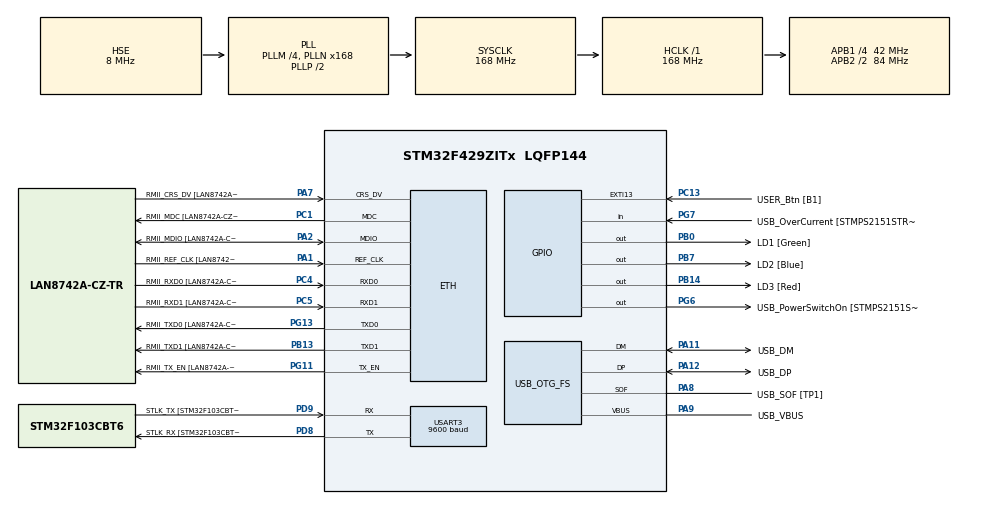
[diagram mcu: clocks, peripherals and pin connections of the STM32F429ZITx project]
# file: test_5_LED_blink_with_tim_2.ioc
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ETH.MediaInterface=HAL_ETH_RMII_MODE
ETH.PHY_Name=LAN8742A_PHY_ADDRESS
ETH.PHY_Value=0
ETH.PhyAddress=0
Mcu.Family=STM32F4
Mcu.Name=STM32F429ZITx
Mcu.Package=LQFP144
NVIC.EXTI15_10_IRQn=true\:0\:0\:false\:false\:true\:true\:true\:true
NVIC.PriorityGroup=NVIC_PRIORITYGROUP_4
NVIC.TIM1_UP_TIM10_IRQn=true\:0\:0\:false\:false\:true\:true\:true\:true
PA1.GPIO_Label=RMII_REF_CLK [LAN8742A-CZ-TR_REFCLK0]
PA1.Mode=RMII
PA1.Signal=ETH_REF_CLK
PA10.GPIO_Label=USB_ID
PA10.Signal=USB_OTG_FS_ID
PA11.GPIO_Label=USB_DM
PA11.Mode=Device_Only
PA11.Signal=USB_OTG_FS_DM
PA12.GPIO_Label=USB_DP
PA12.Mode=Device_Only
PA12.Signal=USB_OTG_FS_DP
PA13.GPIO_Label=TMS
PA13.Mode=Serial_Wire
PA13.Signal=SYS_JTMS-SWDIO
PA14.GPIO_Label=TCK
PA14.Mode=Serial_Wire
PA14.Signal=SYS_JTCK-SWCLK
PA2.GPIO_Label=RMII_MDIO [LAN8742A-CZ-TR_MDIO]
PA2.Mode=RMII
PA2.Signal=ETH_MDIO
PA7.GPIO_Label=RMII_CRS_DV [LAN8742A-CZ-TR_CRS_DV]
PA7.Mode=RMII
PA7.Signal=ETH_CRS_DV
PA8.GPIO_Label=USB_SOF [TP1]
PA8.Mode=Activate_SOF_FS
PA8.Signal=USB_OTG_FS_SOF
PA9.GPIO_Label=USB_VBUS
PA9.Mode=Activate_VBUS
PA9.Signal=USB_OTG_FS_VBUS
PB0.GPIO_Label=LD1 [Green]
PB0.Signal=GPIO_Output
PB13.GPIO_Label=RMII_TXD1 [LAN8742A-CZ-TR_TXD1]
PB13.Mode=RMII
PB13.Signal=ETH_TXD1
PB14.GPIO_Label=LD3 [Red]
PB14.Signal=GPIO_Output
PB7.GPIO_Label=LD2 [Blue]
PB7.Signal=GPIO_Output
PC1.GPIO_Label=RMII_MDC [LAN8742A-CZ-TR_MDC]
PC1.Mode=RMII
PC1.Signal=ETH_MDC
PC13.GPIO_Label=USER_Btn [B1]
PC13.Signal=GPXTI13
PC14/OSC32_IN.Mode=LSE-External-Oscillator
PC14/OSC32_IN.Signal=RCC_OSC32_IN
PC15/OSC32_OUT.Mode=LSE-External-Oscillator
PC15/OSC32_OUT.Signal=RCC_OSC32_OUT
PC4.GPIO_Label=RMII_RXD0 [LAN8742A-CZ-TR_RXD0]
PC4.Mode=RMII
PC4.Signal=ETH_RXD0
PC5.GPIO_Label=RMII_RXD1 [LAN8742A-CZ-TR_RXD1]
PC5.Mode=RMII
PC5.Signal=ETH_RXD1
PD8.GPIO_Label=STLK_RX [STM32F103CBT6_PA3]
PD8.Mode=Asynchronous
PD8.Signal=USART3_TX
PD9.GPIO_Label=STLK_TX [STM32F103CBT6_PA2]
PD9.Mode=Asynchronous
PD9.Signal=USART3_RX
PG11.GPIO_Label=RMII_TX_EN [LAN8742A-CZ-TR_TXEN]
PG11.Mode=RMII
PG11.Signal=ETH_TX_EN
PG13.GPIO_Label=RMII_TXD0 [LAN8742A-CZ-TR_TXD0]
PG13.Mode=RMII
PG13.Signal=ETH_TXD0
PG6.GPIO_Label=USB_PowerSwitchOn [STMPS2151STR_EN]
PG6.Signal=GPIO_Output
PG7.GPIO_Label=USB_OverCurrent [STMPS2151STR_FAULT]
PG7.Signal=GPIO_Input
PH0/OSC_IN.GPIO_Label=MCO [STM32F103CBT6_PA8]
PH0/OSC_IN.Mode=HSE-External-Clock-Source
PH0/OSC_IN.Signal=RCC_OSC_IN
PH1/OSC_OUT.Mode=HSE-External-Clock-Source
PH1/OSC_OUT.Signal=RCC_OSC_OUT
ProjectManager.HeapSize=0x200
ProjectManager.StackSize=0x400
ProjectManager.TargetToolchain=STM32CubeIDE
RCC.48MHZClocksFreq_Value=48000000
RCC.AHBFreq_Value=168000000
RCC.APB1CLKDivider=RCC_HCLK_DIV4
RCC.APB1Freq_Value=42000000
RCC.APB1TimFreq_Value=84000000
RCC.APB2CLKDivider=RCC_HCLK_DIV2
RCC.APB2Freq_Value=84000000
RCC.APB2TimCLKDivider=2
RCC.APB2TimFreq_Value=168000000
RCC.CortexFreq_Value=168000000
RCC.HCLKFreq_Value=168000000
RCC.HSE_VALUE=8000000
RCC.HSI_VALUE=16000000
RCC.PLLM=4
RCC.PLLMUL=RCC_PLL_MUL9
RCC.PLLN=168
RCC.PLLQ=7
RCC.PRESCALERUSB=RCC_USBCLKSOURCE_PLL_DIV1_5
RCC.SYSCLKFreq_VALUE=168000000
RCC.SYSCLKSource=RCC_SYSCLKSOURCE_PLLCLK
RCC.SYSCLKSourceVirtual=RCC_SYSCLKSOURCE_PLLCLK
RCC.USBFreq_Value=48000000
RCC.VCOOutputFreq_Value=336000000
TIM1.Period=100-1
TIM1.Prescaler=8400-1
USART3.BaudRate=9600
USART3.VirtualMode=VM_ASYNC
USB_OTG_FS.VirtualMode=Device_Only
VP_TIM1_VS_ClockSourceINT.Mode=Internal
board=NUCLEO-F429ZI

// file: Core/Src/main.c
/* USER CODE BEGIN Header */
/**
  ******************************************************************************
  * @file           : main.c
  * @brief          : Main program body
  ******************************************************************************
  * @attention
  *
  * Copyright (c) 2024 STMicroelectronics.
  * All rights reserved.
  *
  * This software is licensed under terms that can be found in the LICENSE file
  * in the root directory of this software component.
  * If no LICENSE file comes with this software, it is provided AS-IS.
  *
  ******************************************************************************
  */
/* USER CODE END Header */
#include "main.h"
#include "string.h"

/* USER CODE BEGIN Includes */
#include <stdio.h>
#include <stdbool.h>
/* USER CODE END Includes */

ETH_TxPacketConfig TxConfig;
ETH_DMADescTypeDef  DMARxDscrTab[ETH_RX_DESC_CNT]; /* Ethernet Rx DMA Descriptors */
ETH_DMADescTypeDef  DMATxDscrTab[ETH_TX_DESC_CNT]; /* Ethernet Tx DMA Descriptors */

ETH_HandleTypeDef heth;

TIM_HandleTypeDef htim1;

UART_HandleTypeDef huart3;

PCD_HandleTypeDef hpcd_USB_OTG_FS;

/* USER CODE BEGIN PV */
int cnt;
bool is_10ms, is_20ms, is_50ms, is_100ms, is_250ms;
/* USER CODE END PV */

void SystemClock_Config(void);
static void MX_GPIO_Init(void);
static void MX_ETH_Init(void);
static void MX_USART3_UART_Init(void);
static void MX_USB_OTG_FS_PCD_Init(void);
static void MX_TIM1_Init(void);
/* USER CODE BEGIN PFP */
int __io_putchar(int ch){
	HAL_UART_Transmit(&huart3, &ch, 1, 1000);
    return ch;
}
/* USER CODE END PFP */

int main(void)
{

  /* MCU Configuration--------------------------------------------------------*/

  /* Reset of all peripherals, Initializes the Flash interface and the Systick. */
  HAL_Init();

  /* Configure the system clock */
  SystemClock_Config();

  /* Initialize all configured peripherals */
  MX_GPIO_Init();
  MX_ETH_Init();
  MX_USART3_UART_Init();
  MX_USB_OTG_FS_PCD_Init();
  MX_TIM1_Init();
  /* USER CODE BEGIN 2 */
  HAL_GPIO_WritePin(LD1_GPIO_Port, LD1_Pin, GPIO_PIN_SET);
  HAL_GPIO_WritePin(LD2_GPIO_Port, LD2_Pin, GPIO_PIN_SET);
  HAL_GPIO_WritePin(LD3_GPIO_Port, LD3_Pin, GPIO_PIN_SET);
  HAL_TIM_Base_Start_IT(&htim1);
  /* USER CODE END 2 */

  /* Infinite loop */
  /* USER CODE BEGIN WHILE */
  while (1)
  {
	HAL_GPIO_WritePin(LD1_GPIO_Port, LD1_Pin, GPIO_PIN_SET);
	HAL_GPIO_WritePin(LD2_GPIO_Port, LD2_Pin, GPIO_PIN_SET);
	HAL_GPIO_WritePin(LD3_GPIO_Port, LD3_Pin, GPIO_PIN_SET);
    /* USER CODE END WHILE */

  }
}

void SystemClock_Config(void)
{
  RCC_OscInitTypeDef RCC_OscInitStruct = {0};
  RCC_ClkInitTypeDef RCC_ClkInitStruct = {0};

  /** Configure the main internal regulator output voltage
  */
  __HAL_RCC_PWR_CLK_ENABLE();
  __HAL_PWR_VOLTAGESCALING_CONFIG(PWR_REGULATOR_VOLTAGE_SCALE1);

  /** Initializes the RCC Oscillators according to the specified parameters
  * in the RCC_OscInitTypeDef structure.
  */
  RCC_OscInitStruct.OscillatorType = RCC_OSCILLATORTYPE_HSE;
  RCC_OscInitStruct.HSEState = RCC_HSE_BYPASS;
  RCC_OscInitStruct.PLL.PLLState = RCC_PLL_ON;
  RCC_OscInitStruct.PLL.PLLSource = RCC_PLLSOURCE_HSE;
  RCC_OscInitStruct.PLL.PLLM = 4;
  RCC_OscInitStruct.PLL.PLLN = 168;
  RCC_OscInitStruct.PLL.PLLP = RCC_PLLP_DIV2;
  RCC_OscInitStruct.PLL.PLLQ = 7;
  if (HAL_RCC_OscConfig(&RCC_OscInitStruct) != HAL_OK)
  {
    Error_Handler();
  }

  /** Initializes the CPU, AHB and APB buses clocks
  */
  RCC_ClkInitStruct.ClockType = RCC_CLOCKTYPE_HCLK|RCC_CLOCKTYPE_SYSCLK
                              |RCC_CLOCKTYPE_PCLK1|RCC_CLOCKTYPE_PCLK2;
  RCC_ClkInitStruct.SYSCLKSource = RCC_SYSCLKSOURCE_PLLCLK;
  RCC_ClkInitStruct.AHBCLKDivider = RCC_SYSCLK_DIV1;
  RCC_ClkInitStruct.APB1CLKDivider = RCC_HCLK_DIV4;
  RCC_ClkInitStruct.APB2CLKDivider = RCC_HCLK_DIV2;

  if (HAL_RCC_ClockConfig(&RCC_ClkInitStruct, FLASH_LATENCY_5) != HAL_OK)
  {
    Error_Handler();
  }
}

static void MX_ETH_Init(void)
{

   static uint8_t MACAddr[6];

  heth.Instance = ETH;
  MACAddr[0] = 0x00;
  MACAddr[1] = 0x80;
  MACAddr[2] = 0xE1;
  MACAddr[3] = 0x00;
  MACAddr[4] = 0x00;
  MACAddr[5] = 0x00;
  heth.Init.MACAddr = &MACAddr[0];
  heth.Init.MediaInterface = HAL_ETH_RMII_MODE;
  heth.Init.TxDesc = DMATxDscrTab;
  heth.Init.RxDesc = DMARxDscrTab;
  heth.Init.RxBuffLen = 1524;

  if (HAL_ETH_Init(&heth) != HAL_OK)
  {
    Error_Handler();
  }

  memset(&TxConfig, 0 , sizeof(ETH_TxPacketConfig));
  TxConfig.Attributes = ETH_TX_PACKETS_FEATURES_CSUM | ETH_TX_PACKETS_FEATURES_CRCPAD;
  TxConfig.ChecksumCtrl = ETH_CHECKSUM_IPHDR_PAYLOAD_INSERT_PHDR_CALC;
  TxConfig.CRCPadCtrl = ETH_CRC_PAD_INSERT;

}

static void MX_TIM1_Init(void)
{

  TIM_ClockConfigTypeDef sClockSourceConfig = {0};
  TIM_MasterConfigTypeDef sMasterConfig = {0};

  htim1.Instance = TIM1;
  htim1.Init.Prescaler = 8400-1;
  htim1.Init.CounterMode = TIM_COUNTERMODE_UP;
  htim1.Init.Period = 100-1;
  htim1.Init.ClockDivision = TIM_CLOCKDIVISION_DIV1;
  htim1.Init.RepetitionCounter = 0;
  htim1.Init.AutoReloadPreload = TIM_AUTORELOAD_PRELOAD_DISABLE;
  if (HAL_TIM_Base_Init(&htim1) != HAL_OK)
  {
    Error_Handler();
  }
  sClockSourceConfig.ClockSource = TIM_CLOCKSOURCE_INTERNAL;
  if (HAL_TIM_ConfigClockSource(&htim1, &sClockSourceConfig) != HAL_OK)
  {
    Error_Handler();
  }
  sMasterConfig.MasterOutputTrigger = TIM_TRGO_RESET;
  sMasterConfig.MasterSlaveMode = TIM_MASTERSLAVEMODE_DISABLE;
  if (HAL_TIMEx_MasterConfigSynchronization(&htim1, &sMasterConfig) != HAL_OK)
  {
    Error_Handler();
  }

}

static void MX_USART3_UART_Init(void)
{

  huart3.Instance = USART3;
  huart3.Init.BaudRate = 9600;
  huart3.Init.WordLength = UART_WORDLENGTH_8B;
  huart3.Init.StopBits = UART_STOPBITS_1;
  huart3.Init.Parity = UART_PARITY_NONE;
  huart3.Init.Mode = UART_MODE_TX_RX;
  huart3.Init.HwFlowCtl = UART_HWCONTROL_NONE;
  huart3.Init.OverSampling = UART_OVERSAMPLING_16;
  if (HAL_UART_Init(&huart3) != HAL_OK)
  {
    Error_Handler();
  }

}

static void MX_USB_OTG_FS_PCD_Init(void)
{

  hpcd_USB_OTG_FS.Instance = USB_OTG_FS;
  hpcd_USB_OTG_FS.Init.dev_endpoints = 4;
  hpcd_USB_OTG_FS.Init.speed = PCD_SPEED_FULL;
  hpcd_USB_OTG_FS.Init.dma_enable = DISABLE;
  hpcd_USB_OTG_FS.Init.phy_itface = PCD_PHY_EMBEDDED;
  hpcd_USB_OTG_FS.Init.Sof_enable = ENABLE;
  hpcd_USB_OTG_FS.Init.low_power_enable = DISABLE;
  hpcd_USB_OTG_FS.Init.lpm_enable = DISABLE;
  hpcd_USB_OTG_FS.Init.vbus_sensing_enable = ENABLE;
  hpcd_USB_OTG_FS.Init.use_dedicated_ep1 = DISABLE;
  if (HAL_PCD_Init(&hpcd_USB_OTG_FS) != HAL_OK)
  {
    Error_Handler();
  }

}

static void MX_GPIO_Init(void)
{
  GPIO_InitTypeDef GPIO_InitStruct = {0};

  /* GPIO Ports Clock Enable */
  __HAL_RCC_GPIOC_CLK_ENABLE();
  __HAL_RCC_GPIOH_CLK_ENABLE();
  __HAL_RCC_GPIOA_CLK_ENABLE();
  __HAL_RCC_GPIOB_CLK_ENABLE();
  __HAL_RCC_GPIOD_CLK_ENABLE();
  __HAL_RCC_GPIOG_CLK_ENABLE();

  /*Configure GPIO pin Output Level */
  HAL_GPIO_WritePin(GPIOB, LD1_Pin|LD3_Pin|LD2_Pin, GPIO_PIN_RESET);

  /*Configure GPIO pin Output Level */
  HAL_GPIO_WritePin(USB_PowerSwitchOn_GPIO_Port, USB_PowerSwitchOn_Pin, GPIO_PIN_RESET);

  /*Configure GPIO pin : USER_Btn_Pin */
  GPIO_InitStruct.Pin = USER_Btn_Pin;
  GPIO_InitStruct.Mode = GPIO_MODE_IT_RISING;
  GPIO_InitStruct.Pull = GPIO_NOPULL;
  HAL_GPIO_Init(USER_Btn_GPIO_Port, &GPIO_InitStruct);

  /*Configure GPIO pins : LD1_Pin LD3_Pin LD2_Pin */
  GPIO_InitStruct.Pin = LD1_Pin|LD3_Pin|LD2_Pin;
  GPIO_InitStruct.Mode = GPIO_MODE_OUTPUT_PP;
  GPIO_InitStruct.Pull = GPIO_NOPULL;
  GPIO_InitStruct.Speed = GPIO_SPEED_FREQ_LOW;
  HAL_GPIO_Init(GPIOB, &GPIO_InitStruct);

  /*Configure GPIO pin : USB_PowerSwitchOn_Pin */
  GPIO_InitStruct.Pin = USB_PowerSwitchOn_Pin;
  GPIO_InitStruct.Mode = GPIO_MODE_OUTPUT_PP;
  GPIO_InitStruct.Pull = GPIO_NOPULL;
  GPIO_InitStruct.Speed = GPIO_SPEED_FREQ_LOW;
  HAL_GPIO_Init(USB_PowerSwitchOn_GPIO_Port, &GPIO_InitStruct);

  /*Configure GPIO pin : USB_OverCurrent_Pin */
  GPIO_InitStruct.Pin = USB_OverCurrent_Pin;
  GPIO_InitStruct.Mode = GPIO_MODE_INPUT;
  GPIO_InitStruct.Pull = GPIO_NOPULL;
  HAL_GPIO_Init(USB_OverCurrent_GPIO_Port, &GPIO_InitStruct);

  /* EXTI interrupt init*/
  HAL_NVIC_SetPriority(EXTI15_10_IRQn, 0, 0);
  HAL_NVIC_EnableIRQ(EXTI15_10_IRQn);

}

/* USER CODE BEGIN 4 */
void HAL_TIM_PeriodElapsedCallback(TIM_HandleTypeDef *htim)
{
	cnt++;
	is_10ms = true;
	if (cnt % 2 == 0)
	{
		is_20ms = true;
	}
	if (cnt % 5 == 0)
	{
		is_50ms = true;
	}
	if (cnt % 10 == 0)
	{
		is_100ms = true;
	}
	if (cnt % 25 == 0)
	{
		is_250ms = true;
	}
}
/* USER CODE END 4 */

void Error_Handler(void)
{
  __disable_irq();
  while (1)
  {
  }
}
